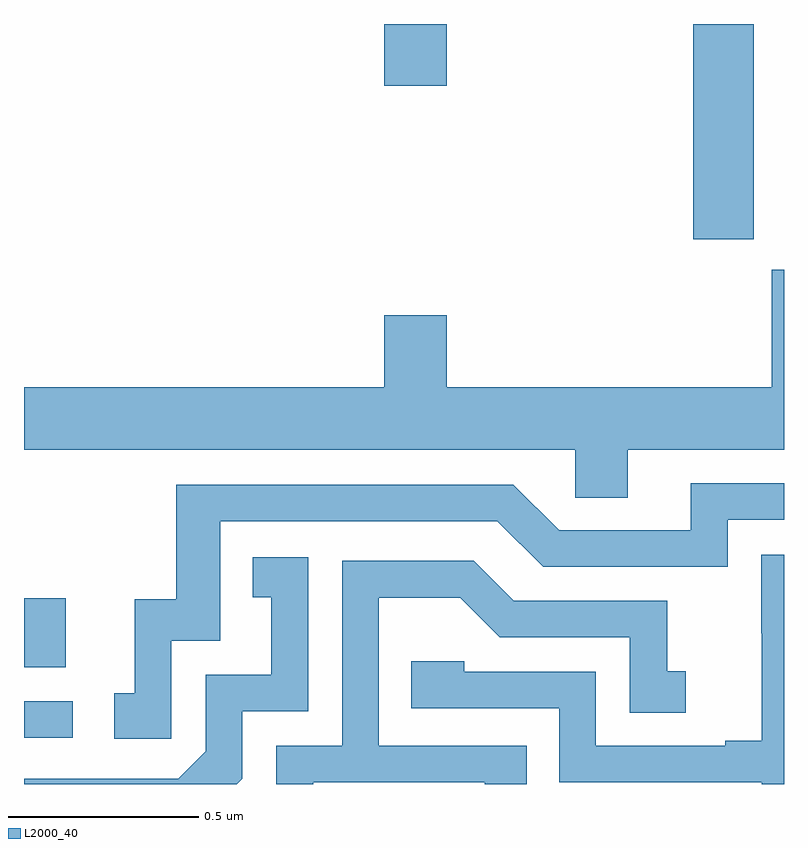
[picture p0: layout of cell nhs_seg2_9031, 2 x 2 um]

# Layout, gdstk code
import gdstk
lib = gdstk.Library(unit=1e-6, precision=1e-09)
def R(c, l, rs):  # rectangles x0, y0, x1, y1
    for r in rs: c.add(gdstk.rectangle(r[:2], r[2:], *l))
def P(c, l, *ps):  # polygons
    for p in ps: c.add(gdstk.Polygon(p, *l))
L2000_40 = (2000, 40)

nhs_seg2_9031 = lib.new_cell('nhs_seg2_9031')
R(nhs_seg2_9031, L2000_40, [(224,602.922,224.128,603.018), (224,603.107,224.11,603.289), (225.761,604.233,225.921,604.8), (224.948,604.638,225.112,604.8)])
P(nhs_seg2_9031, L2000_40, [(225.589,603.68),(226,603.68),(226,604.153),(225.968,604.153),(225.968,603.844),(225.112,603.844),(225.112,604.033),(224.948,604.033),(224.948,603.844),(224,603.844),(224,603.68),(225.45,603.68),(225.45,603.553),(225.589,603.553)],
  [(224.388,603.177),(224.517,603.177),(224.517,603.492),(225.246,603.492),(225.366,603.372),(225.852,603.372),(225.852,603.495),(226,603.495),(226,603.591),(225.755,603.591),(225.755,603.468),(225.408,603.468),(225.288,603.588),(224.401,603.588),(224.401,603.286),(224.291,603.286),(224.291,603.039),(224.238,603.039),(224.238,602.919),(224.388,602.919)],
  [(226,603.403),(225.94,603.403),(225.94,603.197),(225.941,603.197),(225.941,602.914),(225.845,602.914),(225.845,602.901),(225.504,602.901),(225.504,603.096),(225.159,603.096),(225.159,603.123),(225.019,603.123),(225.019,603),(225.408,603),(225.408,602.805),(225.942,602.805),(225.942,602.8),(226,602.8)],
  [(224.574,602.814),(224.574,602.991),(224.748,602.991),(224.748,603.397),(224.602,603.397),(224.602,603.291),(224.651,603.291),(224.651,603.087),(224.478,603.087),(224.478,602.886),(224.406,602.814),(224,602.814),(224,602.8),(224.56,602.8)],
  [(224.761,602.805),(225.212,602.805),(225.212,602.8),(225.323,602.8),(225.323,602.901),(224.934,602.901),(224.934,603.29),(225.148,603.29),(225.252,603.186),(225.594,603.186),(225.594,602.988),(225.742,602.988),(225.742,603.097),(225.693,603.097),(225.693,603.282),(225.289,603.282),(225.184,603.387),(224.838,603.387),(224.838,602.901),(224.664,602.901),(224.664,602.8),(224.761,602.8)])

lib.write_gds('nhs_seg2_9031.gds')
